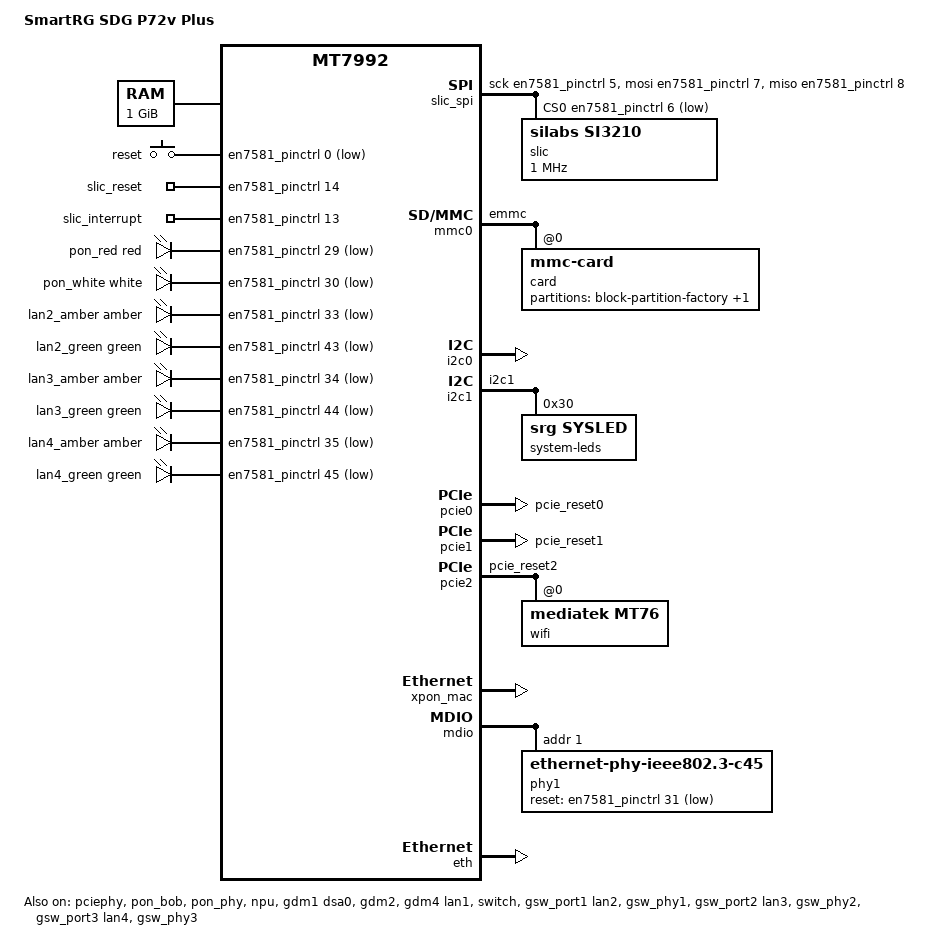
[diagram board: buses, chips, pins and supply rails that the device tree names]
// SPDX-License-Identifier: (GPL-2.0-only OR BSD-2-Clause)
/dts-v1/;

/* Bootloader installs ATF here */
/memreserve/ 0x80000000 0x200000;

#include <dt-bindings/leds/common.h>
#include <dt-bindings/gpio/gpio.h>
#include <dt-bindings/input/input.h>
#include "an7581.dtsi"
#include "an7581-npu-mt7992.dtsi"
#include "an7581-smartrg-dragontail.dtsi"
#include "an7581-smartrg-pon.dtsi"

/ {
	model = "SmartRG SDG P72v Plus";
	compatible = "smartrg,sdg-p72v-plus", "airoha,an7581", "airoha,en7581";

	aliases {
		serial0 = &uart1;
		spi0 = &slic_spi;
		spi1 = &snfi;
		led-boot = &led_sys_green;
		led-failsafe = &led_sys_blue;
		led-running = &led_sys_white;
		led-upgrade = &led_sys_red;
	};

	chosen {
		bootargs = "console=ttyS0,115200 earlycon";
		stdout-path = "serial0:115200n8";
		linux,usable-memory-range = <0x0 0x80200000 0x0 0x3fe00000>;
	};

	memory@80000000 {
		device_type = "memory";
		reg = <0x0 0x80000000 0x0 0x40000000>;
	};

	gpio-keys-polled {
		compatible = "gpio-keys-polled";
		poll-interval = <100>;

		button-reset {
			label = "reset";
			linux,code = <KEY_RESTART>;
			gpios = <&en7581_pinctrl 0 GPIO_ACTIVE_LOW>;
		};
	};

	gpio-export {
		compatible = "gpio-export";

		slic_reset {
			gpio-export,name = "slic_reset";
			/*
			* Keep SLIC (Si32184) in reset by default. udsp
			* releases it once the SLIC plug-in is ready. Pairs
			* with the U-Boot gpio_direction_output(14, 0) so the
			* pin never floats from power-on through Linux boot.
			*/
			gpio-export,output = <0>;
			gpios = <&en7581_pinctrl 14 GPIO_ACTIVE_HIGH>;
		};

		slic_interrupt {
			gpio-export,name = "slic_interrupt";
			gpio-export,direction_may_change;
			gpios = <&en7581_pinctrl 13 GPIO_ACTIVE_HIGH>;
		};
	};

	voip_pcm: pcm@1fbd0000 {
		compatible = "airoha,an7581-pcm";
		reg = <0x0 0x1fbd0000 0x0 0x1000>;
		interrupts = <GIC_SPI 27 IRQ_TYPE_LEVEL_HIGH>;
		resets = <&scuclk EN7581_PCM1_RST>;
		airoha,chip-scu = <&chip_scu>;
		airoha,np-scu = <&scuclk>;
		pinctrl-names = "default";
		pinctrl-0 = <&pcm1_pins>;
	};

	/*
	 * The EN7581 SPIWP engine at 0x1fbd1000 pulses chip-select per byte,
	 * which breaks the ProSLIC MPI framing (the control+address bytes must
	 * be clocked under one CS). Bit-bang the SLIC control bus instead so CS
	 * is held across each transfer. SLIC SPI pads (schematic): gpio5 SCLK,
	 * gpio6 CS0, gpio7 MOSI, gpio8 MISO = en7581_pinctrl lines 5/6/7/8.
	 */
	slic_spi: spi {
		compatible = "spi-gpio";
		#address-cells = <1>;
		#size-cells = <0>;

		sck-gpios = <&en7581_pinctrl 5 GPIO_ACTIVE_HIGH>;
		mosi-gpios = <&en7581_pinctrl 7 GPIO_ACTIVE_HIGH>;
		miso-gpios = <&en7581_pinctrl 8 GPIO_ACTIVE_HIGH>;
		cs-gpios = <&en7581_pinctrl 6 GPIO_ACTIVE_LOW>;
		num-chipselects = <1>;

		slic@0 {
			compatible = "silabs,si3210";
			reg = <0>;
			spi-max-frequency = <1000000>;
			/*
			 * The SLIC answers only when SCLK is high at the rising
			 * edge of its reset (measured on the SDG-8716v); mode 3
			 * makes spi-gpio idle the clock high from setup on.
			 */
			spi-cpol;
			spi-cpha;
		};
	};

	dummy_codec: dummy_codec {
		compatible = "d2,slic-dummy-codec";
	};

	sound_si3218x {
		compatible = "airoha,an7581-si3218x-sound";

		platform {
			sound-dai = <&voip_pcm>;
		};

		codec {
			sound-dai = <&dummy_codec>;
		};
	};

	leds: gpio-leds {
		compatible = "gpio-leds";

		pon_red {
			color = <LED_COLOR_ID_RED>;
			function = "pon";
			gpios = <&en7581_pinctrl 29 GPIO_ACTIVE_LOW>;
		};

		pon_white {
			color = <LED_COLOR_ID_WHITE>;
			function = "pon";
			gpios = <&en7581_pinctrl 30 GPIO_ACTIVE_LOW>;
		};

		lan2_amber {
			color = <LED_COLOR_ID_AMBER>;
			function = "lan2";
			gpios = <&en7581_pinctrl 33 GPIO_ACTIVE_LOW>;
			linux,default-trigger = "mt7530-0:09:100Mbps";
		};

		lan2_green {
			color = <LED_COLOR_ID_GREEN>;
			function = "lan2";
			gpios = <&en7581_pinctrl 43 GPIO_ACTIVE_LOW>;
			linux,default-trigger = "mt7530-0:09:1Gbps";
		};

		lan3_amber {
			color = <LED_COLOR_ID_AMBER>;
			function = "lan3";
			gpios = <&en7581_pinctrl 34 GPIO_ACTIVE_LOW>;
			linux,default-trigger = "mt7530-0:0a:100Mbps";
		};

		lan3_green {
			color = <LED_COLOR_ID_GREEN>;
			function = "lan3";
			gpios = <&en7581_pinctrl 44 GPIO_ACTIVE_LOW>;
			linux,default-trigger = "mt7530-0:0a:1Gbps";
		};

		lan4_amber {
			color = <LED_COLOR_ID_AMBER>;
			function = "lan4";
			gpios = <&en7581_pinctrl 35 GPIO_ACTIVE_LOW>;
			linux,default-trigger = "mt7530-0:0b:100Mbps";
		};

		lan4_green {
			color = <LED_COLOR_ID_GREEN>;
			function = "lan4";
			gpios = <&en7581_pinctrl 45 GPIO_ACTIVE_LOW>;
			linux,default-trigger = "mt7530-0:0b:1Gbps";
		};
	};
};

&en7581_pinctrl {
	gpio-ranges = <&en7581_pinctrl 0 13 47>;

	mdio_pins: mdio-pins {
		mux {
			function = "mdio";
			groups = "mdio";
		};

		conf {
			pins = "gpio2";
			output-high;
		};
	};

	i2c1_pins: i2c1-pins {
		mux {
			function = "i2c";
			groups = "i2c1";
		};
	};

	pcm1_pins: pcm1-pins {
		mux {
			function = "pcm";
			groups = "pcm1";
		};
	};

	pcie0_rst_pins: pcie0-rst-pins {
		conf {
			pins = "pcie_reset0";
			drive-open-drain = <1>;
		};
	};

	pcie1_rst_pins: pcie1-rst-pins {
		conf {
			pins = "pcie_reset1";
			drive-open-drain = <1>;
		};
	};

	pcie2_rst_pins: pcie2-rst-pins {
		conf {
			pins = "pcie_reset2";
			drive-open-drain = <1>;
		};
	};

	mmc_pins: mmc-pins {
		mux {
			function = "emmc";
			groups = "emmc";
		};
	};
};

&usb0 {
	status = "disabled";
};

&usb1 {
	status = "disabled";

	mediatek,u3p-dis-msk = <0x1>;
	phys = <&usb1_phy PHY_TYPE_USB2>;
};

&mmc0 {
	pinctrl-names = "default", "state_uhs";
	pinctrl-0 = <&mmc_pins>;
	pinctrl-1 = <&mmc_pins>;
	status = "okay";

	#address-cells = <1>;
	#size-cells = <0>;

	card@0 {
		compatible = "mmc-card";
		reg = <0>;

		block {
			compatible = "block-device";

			partitions {
				block-partition-factory {
					partname = "factory";

					nvmem-layout {
						compatible = "fixed-layout";
						#address-cells = <1>;
						#size-cells = <1>;

						eeprom_factory_0: eeprom@0 {
							reg = <0x0 0x1e00>;
						};

						/* mt7992 precal data size */
						precal_factory_1e10: precal@1e10 {
							reg = <0x1e10 0x8b038>;
						};

						pon_factory_1d0000: pon@1d0000 {
							reg = <0x1d0000 0x400>;
						};

						onu_type_factory_1e0000: onu_type@1e0000 {
							reg = <0x1e0000 0x10>;
						};
					};
				};

				block-partition-mfginfo {
					partname = "mfginfo";

					nvmem-layout {
						compatible = "adtran,mfginfo";

						macaddr: mfg-mac {
							#nvmem-cell-cells = <1>;
						};
					};
				};
			};
		};
	};
};

&i2c0 {
	status = "okay";
};

&i2c1 {
	pinctrl-names = "default";
	pinctrl-0 = <&i2c1_pins>;
	status = "okay";

	system-leds@30 {
		compatible = "srg,sysled";
		reg = <0x30>;
		#address-cells = <1>;
		#size-cells = <0>;

		led_sys_red: led@1 {
			label = "red";
			reg = <1>;
		};

		led_sys_green: led@2 {
			label = "green";
			reg = <2>;
		};

		led_sys_blue: led@3 {
			label = "blue";
			reg = <3>;
		};

		led_sys_white: led@4 {
			label = "white";
			reg = <4>;
		};
	};
};

&pciephy {
	status = "okay";
};

&pcie0 {
	pinctrl-names = "default";
	pinctrl-0 = <&pcie0_rst_pins>;
	status = "okay";
};

&pcie1 {
	pinctrl-names = "default";
	pinctrl-0 = <&pcie1_rst_pins>;
	status = "okay";

	pcie@0,0 {
		reg = <0x0000 0 0 0 0>;
		#address-cells = <3>;
		#size-cells = <2>;

		radio0: mt7992@0,0 {
			reg = <0x0000 0 0 0 0>;
			#address-cells = <1>;
			#size-cells = <0>;

			airoha,npu = <&npu>;
			airoha,eth = <&eth>;
			nvmem-cells = <&eeprom_factory_0>, <&precal_factory_1e10>;
			nvmem-cell-names = "eeprom", "precal";
			ieee80211-freq-limit = <2400000 2500000>, <5170000 5835000>;

			band@0 {
				/* 2.4 GHz */
				reg = <0>;
				nvmem-cells = <&macaddr 0x4>;
				nvmem-cell-names = "mac-address";
			};

			band@1 {
				/* 5 GHz */
				reg = <1>;
				nvmem-cells = <&macaddr 0xa>;
				nvmem-cell-names = "mac-address";
			};
		};
	};
};

&pcie2 {
	pinctrl-names = "default";
	pinctrl-0 = <&pcie2_rst_pins>;
	status = "okay";

	pcie@0,0 {
		reg = <0x0000 0 0 0 0>;
		#address-cells = <3>;
		#size-cells = <2>;

		wifi@0,0 {
			compatible = "mediatek,mt76";
			reg = <0x0000 0 0 0 0>;
			airoha,npu = <&npu>;
			airoha,eth = <&eth>;
		};
	};
};

&pon_bob {
	nvmem-cells = <&pon_factory_1d0000>, <&onu_type_factory_1e0000>;
	nvmem-cell-names = "bob_data", "onu_type";

	status = "okay";
};

&pon_phy {
	status = "okay";
};

&xpon_mac {
	nvmem-cells = <&onu_type_factory_1e0000>, <&macaddr 0x0>;
	nvmem-cell-names = "onu_type", "pon_mac";

	status = "okay";
};

&mdio {
	phy1: ethernet-phy@1 {
		/* Realtek RTL8261C/D - LAN1 */
		compatible = "ethernet-phy-ieee802.3-c45";
		reg = <0x1>;
		#thermal-sensor-cells = <0>;

		reset-gpios = <&en7581_pinctrl 31 GPIO_ACTIVE_LOW>;
		reset-assert-us = <40000>;
		reset-deassert-us = <150000>;

		leds {
			#address-cells = <1>;
			#size-cells = <0>;

			led@0 {
				reg = <0>;
				color = <LED_COLOR_ID_WHITE>;
				function = LED_FUNCTION_LAN;
				function-enumerator = <1>;
			};

			led@1 {
				reg = <1>;
				color = <LED_COLOR_ID_ORANGE>;
				function = LED_FUNCTION_LAN;
				function-enumerator = <1>;
			};

			led@3 {
				reg = <3>;
				color = <LED_COLOR_ID_GREEN>;
				function = LED_FUNCTION_LAN;
				function-enumerator = <1>;
			};
		};
	};
};

&npu {
	status = "okay";
};

&eth {
	/*
	 * Description for QDMA RX ring configuration:
	 *
	 * QDMA LAN/WAN total has 32 RX rings, each ring size can be configured.
	 * Hardware supports MAX 8 LRO rings, ring 12-19 are LRO capable.
	 * Use lro-mask-lan/lro-mask-wan bit mask to enable/disable LRO rings.
	 * e.g., lro-mask-lan = <0x0f> means ring 12-15 are enabled for LRO.
	 * LRO ring DSCP values are taken from rx-dscp-lan/rx-dscp-wan at the
	 * corresponding ring index (12-19).
	 *
	 * LRO ring payload size is 32KB, non-LRO ring payload size is 2KB.
	 * Ring size means buffer capability.
	 *
	 * The following configuration is for DRAM size optimization.
	 * If there is no config in DTS, driver will use default configuration.
	 */
	rx-dscp-lan = <1024 256 128 128 256 16 128 128
				   128 128 16 256 128 128 128 128
				   16 16 16 16 16 16 16 16
				   16 16 16 16 16 16 16 16>;
	rx-dscp-wan = <1024 256 128 128 256 16 128 128
				   128 128 16 256 128 128 128 128
				   16 16 16 16 16 16 16 16
				   16 16 16 16 16 16 16 16>;
	lro-mask-lan = <0x0f>;
	lro-mask-wan = <0x0f>;
	nvmem-cells = <&macaddr 0x0>;
	nvmem-cell-names = "mac";
	status = "okay";
};

&gdm1 {
	label = "dsa0";

	status = "okay";
};

&gdm2 {
	phy-mode = "internal";

	nvmem-cells = <&macaddr 0x0>;
	nvmem-cell-names = "mac-address";

	status = "okay";
};

&gdm4 {
	label = "lan1";
	phy-handle = <&phy1>;
	phy-mode = "usxgmii";
	managed = "in-band-status";

	nvmem-cells = <&macaddr 0x1>;
	nvmem-cell-names = "mac";

	status = "okay";
};

&switch {
	status = "okay";
};

&gsw_port1 {
	status = "okay";
	label = "lan2";
};

&gsw_phy1 {
	status = "okay";
};

&gsw_port2 {
	status = "okay";
	label = "lan3";
};

&gsw_phy2 {
	status = "okay";
};

&gsw_port3 {
	status = "okay";
	label = "lan4";
};

&gsw_phy3 {
	status = "okay";
};
